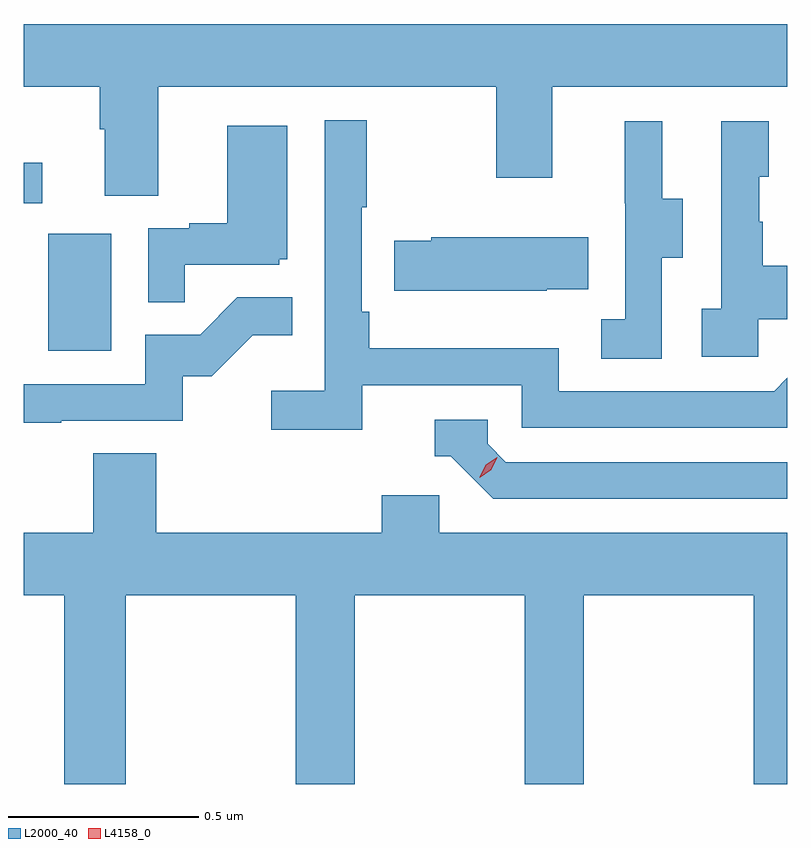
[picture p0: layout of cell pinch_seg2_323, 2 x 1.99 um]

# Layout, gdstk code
import gdstk
lib = gdstk.Library(unit=1e-6, precision=1e-09)
def R(c, l, rs):  # rectangles x0, y0, x1, y1
    for r in rs: c.add(gdstk.rectangle(r[:2], r[2:], *l))
def P(c, l, *ps):  # polygons
    for p in ps: c.add(gdstk.Polygon(p, *l))
L2000_40 = (2000, 40)
L4158_0 = (4158, 0)

pinch_seg2_323 = lib.new_cell('pinch_seg2_323')
R(pinch_seg2_323, L2000_40, [(921.008,626.964,921.172,627.271), (920.943,627.351,920.992,627.457)])
P(pinch_seg2_323, L2000_40, [(921.295,627.656),(922.18,627.656),(922.18,627.417),(922.327,627.417),(922.327,627.656),(922.943,627.656),(922.943,627.82),(920.943,627.82),(920.943,627.656),(921.143,627.656),(921.143,627.544),(921.155,627.544),(921.155,627.37),(921.295,627.37)],
  [(921.83,626.874),(922.248,626.874),(922.248,626.763),(922.943,626.763),(922.943,626.894),(922.908,626.859),(922.344,626.859),(922.344,626.971),(921.848,626.971),(921.848,627.067),(921.828,627.067),(921.828,627.34),(921.841,627.34),(921.841,627.568),(921.732,627.568),(921.732,626.86),(921.591,626.86),(921.591,626.758),(921.83,626.758)],
  [(922.614,627.208),(922.669,627.208),(922.669,627.363),(922.615,627.363),(922.615,627.565),(922.517,627.565),(922.517,627.351),(922.518,627.351),(922.518,627.047),(922.455,627.047),(922.455,626.944),(922.614,626.944)],
  [(922.866,627.047),(922.943,627.047),(922.943,627.187),(922.879,627.187),(922.879,627.302),(922.869,627.302),(922.869,627.42),(922.894,627.42),(922.894,627.565),(922.77,627.565),(922.77,627.074),(922.719,627.074),(922.719,626.949),(922.866,626.949)],
  [(921.365,627.189),(921.612,627.189),(921.612,627.204),(921.634,627.204),(921.634,627.553),(921.476,627.553),(921.476,627.298),(921.377,627.298),(921.377,627.285),(921.27,627.285),(921.27,627.091),(921.365,627.091)],
  [(922.313,627.125),(922.421,627.125),(922.421,627.262),(922.011,627.262),(922.011,627.252),(921.913,627.252),(921.913,627.122),(922.313,627.122)],
  [(921.041,626.781),(921.36,626.781),(921.36,626.898),(921.436,626.898),(921.543,627.005),(921.647,627.005),(921.647,627.104),(921.503,627.104),(921.405,627.006),(921.261,627.006),(921.261,626.877),(920.943,626.877),(920.943,626.776),(921.041,626.776)],
  [(922.943,626.673),(922.206,626.673),(922.158,626.721),(922.158,626.784),(922.019,626.784),(922.019,626.688),(922.062,626.688),(922.173,626.577),(922.943,626.577)],
  [(921.21,626.324),(921.655,626.324),(921.655,625.83),(921.81,625.83),(921.81,626.324),(922.255,626.324),(922.255,625.83),(922.41,625.83),(922.41,626.324),(922.855,626.324),(922.855,625.83),(922.943,625.83),(922.943,626.488),(922.032,626.488),(922.032,626.586),(921.881,626.586),(921.881,626.488),(921.29,626.488),(921.29,626.696),(921.125,626.696),(921.125,626.488),(920.943,626.488),(920.943,626.324),(921.05,626.324),(921.05,625.83),(921.21,625.83)])
P(pinch_seg2_323, L4158_0, [(922.137,626.632),(922.137,626.633),(922.153,626.666),(922.183,626.686),(922.183,626.686),(922.183,626.686),(922.168,626.653),(922.138,626.632)])

lib.write_gds('pinch_seg2_323.gds')
